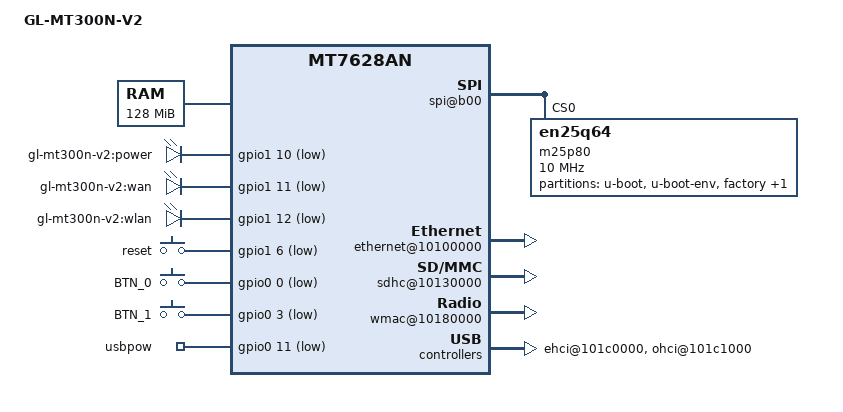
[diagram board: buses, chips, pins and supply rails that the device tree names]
/dts-v1/;

/include/ "mt7628an.dtsi"

/ {
	compatible = "gl-inet,gl-mt300n-v2", "mediatek,mt7628an-soc";
	model = "GL-MT300N-V2";

	chosen {
		bootargs = "console=ttyS0,115200";
	};

	memory@0 {
		device_type = "memory";
		reg = <0x0 0x8000000>;
	};

	palmbus@10000000 {
		spi@b00 {
			status = "okay";

			m25p80@0 {
				#address-cells = <1>;
				#size-cells = <1>;
				compatible = "en25q64";
				reg = <0 0>;
				linux,modalias = "m25p80", "en25q64";
				spi-max-frequency = <10000000>;
				m25p,chunked-io = <32>;

				partition@0 {
					label = "u-boot";
					reg = <0x0 0x30000>;
					read-only;
				};

				partition@30000 {
					label = "u-boot-env";
					reg = <0x30000 0x10000>;
					read-only;
				};

				factory: partition@40000 {
					label = "factory";
					reg = <0x40000 0x10000>;
					read-only;
				};

				partition@50000 {
					label = "firmware";
					reg = <0x50000 0xfb0000>;
				};
			};
		};
	};
	
	ethernet@10100000 {
		status = "okay";
		mtd-mac-address = <&factory 0x4>;
	};

	esw@10110000 {
		status = "okay";
		ralink,portmap = "llllw"; 
	};

	
	sdhc@10130000 {
		status = "okay";
	};
	
	wmac@10180000 {
		status = "okay";
		ralink,mtd-eeprom = <&factory 0x4>;
	};
	
	ehci@101c0000 {
		status = "okay";
	};

	ohci@101c1000 {
		status = "okay";
	};

	pinctrl {
		state_default: pinctrl0 {
			gpio {
				ralink,group = "wdt", "gpio", "wled_an", "p0led_an", "p1led_an", "i2c", "i2s", "uart1";
				ralink,function = "gpio";
			};
		};
	};

	gpio-leds {
		compatible = "gpio-leds";

		power {
			label = "gl-mt300n-v2:power";
			default-state = "on";
			gpios = <&gpio1 10 1>;
		};

		wan {
			label = "gl-mt300n-v2:wan";
			gpios = <&gpio1 11 1>;
		};

		wlan {
			label = "gl-mt300n-v2:wlan";
			gpios = <&gpio1 12 1>;
		};
	};

	gpio-keys {
		compatible = "gpio-keys-polled";
		#address-cells = <1>;
		#size-cells = <0>;
		poll-interval = <20>;

		reset {
			label = "reset";
			gpios = <&gpio1 6 1>;
			linux,code = <0x198>;
		};

		BTN_0 {
			label = "BTN_0";
			gpios = <&gpio0 0 1>;
			linux,code = <0x100>;
		};

		BTN_1 {
			label = "BTN_1";
			gpios = <&gpio0 3 1>;
			linux,code = <0x101>;
		};
	};

	gpio_export {
		compatible = "gpio-export";
		#size-cells = <0>;

		usbpow {
			gpio-export,name = "usbpow";
			gpio-export,output = <1>;
			gpios = <&gpio0 11 1>;
		};
	};

};
